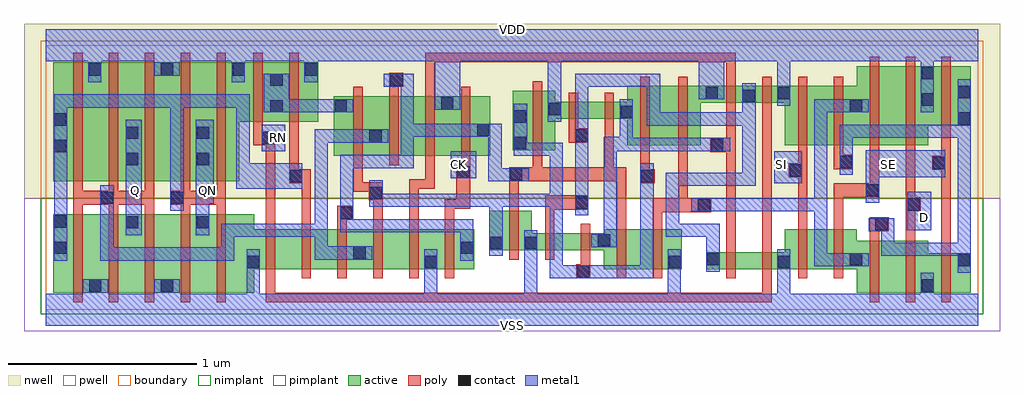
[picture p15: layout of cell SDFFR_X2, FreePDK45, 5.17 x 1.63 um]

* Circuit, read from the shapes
.subckt SDFFR_X2 CK D Q QN RN SE SI VDD VSS
M1 VSS n1 n2 VSUBS nfet w=0.415u l=0.05u
M2 Q n1 VSS VSUBS nfet w=0.415u l=0.05u m=2
M3 QN n2 VSS VSUBS nfet w=0.415u l=0.05u m=2
M4 n3 RN VSS VSUBS nfet w=0.21u l=0.05u
M5 n4 n2 n3 VSUBS nfet w=0.21u l=0.05u
M6 n1 n5 n4 VSUBS nfet w=0.21u l=0.05u
M7 n6 n7 n1 VSUBS nfet w=0.21u l=0.05u
M8 VSS n8 n6 VSUBS nfet w=0.21u l=0.05u
M9 n5 CK VSS VSUBS nfet w=0.21u l=0.05u
M10 VSS n5 n7 VSUBS nfet w=0.21u l=0.05u
M11 n9 n10 VSS VSUBS nfet w=0.09u l=0.05u
M12 n8 n7 n9 VSUBS nfet w=0.09u l=0.05u
M13 n11 n5 n8 VSUBS nfet w=0.21u l=0.05u
M14 VSS n12 n11 VSUBS nfet w=0.21u l=0.05u
M15 n13 n8 n10 VSUBS nfet w=0.09u l=0.05u
M16 VSS RN n13 VSUBS nfet w=0.09u l=0.05u
M17 n14 SI VSS VSUBS nfet w=0.21u l=0.05u
M18 n12 SE n14 VSUBS nfet w=0.21u l=0.05u
M19 n15 n16 n12 VSUBS nfet w=0.275u l=0.05u
M20 VSS D n15 VSUBS nfet w=0.275u l=0.05u
M21 n16 SE VSS VSUBS nfet w=0.21u l=0.05u
M22 VDD n1 n2 n17 pfet w=0.63u l=0.05u
M23 Q n1 VDD n17 pfet w=0.63u l=0.05u m=2
M24 QN n2 VDD n17 pfet w=0.63u l=0.05u m=2
M25 n18 RN VDD n17 pfet w=0.315u l=0.05u
M26 VDD n2 n18 n17 pfet w=0.315u l=0.05u
M27 n1 n7 n18 n17 pfet w=0.315u l=0.05u
M28 n19 n5 n1 n17 pfet w=0.315u l=0.05u
M29 VDD n8 n19 n17 pfet w=0.315u l=0.05u
M30 n5 CK VDD n17 pfet w=0.315u l=0.05u
M31 VDD n5 n7 n17 pfet w=0.315u l=0.05u
M32 n20 n10 VDD n17 pfet w=0.09u l=0.05u
M33 n8 n5 n20 n17 pfet w=0.09u l=0.05u
M34 n21 n7 n8 n17 pfet w=0.315u l=0.05u
M35 VDD n12 n21 n17 pfet w=0.315u l=0.05u
M36 n10 n8 VDD n17 pfet w=0.09u l=0.05u
M37 VDD RN n10 n17 pfet w=0.09u l=0.05u
M38 n22 SI VDD n17 pfet w=0.315u l=0.05u
M39 n12 n16 n22 n17 pfet w=0.315u l=0.05u
M40 n23 SE n12 n17 pfet w=0.42u l=0.05u
M41 VDD D n23 n17 pfet w=0.42u l=0.05u
M42 n16 SE VDD n17 pfet w=0.315u l=0.05u
.ends

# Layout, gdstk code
import gdstk
lib = gdstk.Library(unit=1e-6, precision=5e-10)
def R(c, l, rs):  # rectangles x0, y0, x1, y1
    for r in rs: c.add(gdstk.rectangle(r[:2], r[2:], *l))
def A(c, l, x, y, w, h, nx, ny, dx, dy):  # array of equal rectangles
    R(c, l, [(x+i*dx, y+j*dy, x+i*dx+w, y+j*dy+h) for i in range(nx) for j in range(ny)])
def P(c, l, *ps):  # polygons
    for p in ps: c.add(gdstk.Polygon(p, *l))
active = (1, 0)
pwell = (2, 0)
nwell = (3, 0)
nimplant = (4, 0)
pimplant = (5, 0)
poly = (9, 0)
contact = (10, 0)
metal1 = (11, 0)
boundary = (235, 0)

sdffr_x2 = lib.new_cell('SDFFR_X2')
R(sdffr_x2, active, [(1.525,0.815,2.355,1.13)])
P(sdffr_x2, active, [(2.475,0.845),(2.7,0.845),(2.7,1.01),(3.08,1.01),(3.08,0.87),(3.47,0.87),(3.47,1.095),(3.915,1.095),(3.915,0.87),(4.675,0.87),(4.675,0.975),(4.9,0.975),(4.9,1.29),(4.295,1.29),(4.295,1.185),(3.08,1.185),(3.08,1.1),(2.7,1.1),(2.7,1.16),(2.475,1.16)],
  [(3.5,0.215),(4.295,0.215),(4.295,0.09),(4.9,0.09),(4.9,0.3),(4.675,0.3),(4.675,0.365),(4.295,0.365),(4.295,0.425),(3.915,0.425),(3.915,0.305),(3.5,0.305)],
  [(2.35,0.315),(2.955,0.315),(2.955,0.215),(3.37,0.215),(3.37,0.425),(2.955,0.425),(2.955,0.405),(2.575,0.405),(2.575,0.525),(2.35,0.525)],
  [(0.04,0.09),(1.105,0.09),(1.105,0.215),(2.27,0.215),(2.27,0.425),(1.105,0.425),(1.105,0.505),(0.04,0.505)],
  [(0.04,0.68),(1.025,0.68),(1.025,0.995),(1.445,0.995),(1.445,1.31),(0.04,1.31)])
R(sdffr_x2, pwell, [(-0.115,-0.115,5.055,0.59)])
R(sdffr_x2, nwell, [(-0.115,0.59,5.055,1.515)])
R(sdffr_x2, nimplant, [(-0.025,-0.025,4.965,0.59)])
R(sdffr_x2, pimplant, [(-0.025,0.59,4.965,1.425)])
P(sdffr_x2, poly, [(4.695,0.74),(4.745,0.74),(4.745,0.04),(4.795,0.04),(4.795,1.34),(4.745,1.34),(4.745,0.815),(4.695,0.815)],
  [(4.555,0.04),(4.605,0.04),(4.605,0.52),(4.635,0.52),(4.635,0.595),(4.605,0.595),(4.605,1.34),(4.555,1.34)],
  [(4.365,0.04),(4.415,0.04),(4.415,0.415),(4.465,0.415),(4.465,0.49),(4.365,0.49)],
  [(4.175,0.165),(4.225,0.165),(4.225,0.595),(4.415,0.595),(4.415,1.34),(4.365,1.34),(4.365,0.67),(4.175,0.67)],
  [(4.175,0.745),(4.275,0.745),(4.275,0.82),(4.225,0.82),(4.225,1.235),(4.175,1.235)],
  [(3.935,0.7),(3.985,0.7),(3.985,0.165),(4.035,0.165),(4.035,1.235),(3.985,1.235),(3.985,0.775),(3.935,0.775)],
  [(1.1,0.87),(1.165,0.87),(1.165,0.04),(3.845,0.04),(3.845,1.235),(3.795,1.235),(3.795,0.09),(1.215,0.09),(1.215,0.945),(1.15,0.945),(1.15,1.36),(1.1,1.36)],
  [(1.925,0.165),(1.975,0.165),(1.975,0.64),(2.06,0.64),(2.06,1.31),(3.605,1.31),(3.605,0.91),(3.52,0.91),(3.52,0.835),(3.605,0.835),(3.605,0.165),(3.655,0.165),(3.655,1.36),(2.01,1.36),(2.01,0.69),(1.925,0.69)],
  [(3.215,0.165),(3.265,0.165),(3.265,0.515),(3.525,0.515),(3.525,0.59),(3.4,0.59),(3.4,1.235),(3.35,1.235),(3.35,0.59),(3.215,0.59)],
  [(3.15,0.67),(3.225,0.67),(3.225,0.745),(3.2,0.745),(3.2,1.235),(3.15,1.235)],
  [(2.455,0.265),(2.505,0.265),(2.505,0.68),(3.025,0.68),(3.025,0.165),(3.075,0.165),(3.075,0.755),(3.01,0.755),(3.01,1.15),(2.96,1.15),(2.96,0.755),(2.63,0.755),(2.63,1.21),(2.58,1.21),(2.58,0.755),(2.455,0.755)],
  [(2.81,0.165),(2.885,0.165),(2.885,0.455),(2.835,0.455),(2.835,0.24),(2.81,0.24)],
  [(2.77,0.885),(2.875,0.885),(2.875,0.96),(2.82,0.96),(2.82,1.15),(2.77,1.15)],
  [(2.645,0.265),(2.695,0.265),(2.695,0.53),(2.875,0.53),(2.875,0.605),(2.645,0.605)],
  [(2.115,0.165),(2.165,0.165),(2.165,0.535),(2.25,0.535),(2.25,1.18),(2.2,1.18),(2.2,0.765),(2.175,0.765),(2.175,0.585),(2.115,0.585)],
  [(1.82,0.765),(1.87,0.765),(1.87,1.18),(1.895,1.18),(1.895,1.255),(1.82,1.255)],
  [(1.63,0.625),(1.71,0.625),(1.71,0.58),(1.735,0.58),(1.735,0.165),(1.785,0.165),(1.785,0.675),(1.68,0.675),(1.68,1.18),(1.63,1.18)],
  [(1.545,0.165),(1.595,0.165),(1.595,0.475),(1.63,0.475),(1.63,0.55),(1.545,0.55)],
  [(1.29,0.67),(1.355,0.67),(1.355,0.165),(1.405,0.165),(1.405,0.745),(1.34,0.745),(1.34,1.36),(1.29,1.36)],
  [(0.66,0.555),(0.715,0.555),(0.715,0.04),(0.765,0.04),(0.765,0.555),(0.905,0.555),(0.905,0.04),(0.955,0.04),(0.955,1.36),(0.905,1.36),(0.905,0.63),(0.765,0.63),(0.765,1.36),(0.715,1.36),(0.715,0.63),(0.66,0.63)],
  [(0.145,0.04),(0.195,0.04),(0.195,0.555),(0.335,0.555),(0.335,0.04),(0.385,0.04),(0.385,0.555),(0.525,0.555),(0.525,0.04),(0.575,0.04),(0.575,1.36),(0.525,1.36),(0.525,0.63),(0.385,0.63),(0.385,1.36),(0.335,1.36),(0.335,0.63),(0.195,0.63),(0.195,1.36),(0.145,1.36)])
A(sdffr_x2, contact, 0.23, 1.24, 0.065, 0.065, 3, 1, 0.38, 0)
R(sdffr_x2, contact, [(0.23,0.095,0.295,0.16), (0.61,0.095,0.675,0.16), (4.64,0.095,4.705,0.16), (2.815,0.17,2.88,0.235), (1.065,0.22,1.13,0.285), (2.01,0.22,2.075,0.285), (3.3,0.22,3.365,0.285), (3.88,0.22,3.945,0.285), (4.83,0.23,4.895,0.295), (3.505,0.235,3.57,0.3), (4.26,0.235,4.325,0.3), (1.63,0.27,1.695,0.335), (0.045,0.295,0.11,0.36), (2.2,0.295,2.265,0.36), (2.355,0.32,2.42,0.385), (2.54,0.32,2.605,0.385), (2.925,0.335,2.99,0.4), (4.395,0.42,4.46,0.485), (0.425,0.43,0.49,0.495), (0.8,0.43,0.865,0.495), (0.045,0.435,0.11,0.5), (1.56,0.48,1.625,0.545), (3.455,0.52,3.52,0.585), (4.565,0.525,4.63,0.59), (2.805,0.535,2.87,0.6), (0.29,0.56,0.355,0.625), (0.665,0.56,0.73,0.625), (1.715,0.585,1.78,0.65), (4.345,0.6,4.41,0.665), (1.295,0.675,1.36,0.74), (3.155,0.675,3.22,0.74), (2.46,0.685,2.525,0.75), (2.18,0.695,2.245,0.76), (3.94,0.705,4.005,0.77), (4.7,0.745,4.765,0.81), (4.205,0.75,4.27,0.815), (0.425,0.765,0.49,0.83), (0.8,0.765,0.865,0.83), (0.045,0.835,0.11,0.9), (3.525,0.84,3.59,0.905), (2.48,0.85,2.545,0.915), (1.145,0.875,1.21,0.94), (1.715,0.885,1.78,0.95), (2.805,0.89,2.87,0.955), (0.425,0.905,0.49,0.97), (0.8,0.905,0.865,0.97), (2.285,0.92,2.35,0.985), (0.045,0.975,0.11,1.04), (4.83,0.98,4.895,1.045), (2.48,0.99,2.545,1.055), (3.045,1.015,3.11,1.08), (2.665,1.03,2.73,1.095), (1.19,1.045,1.255,1.11), (1.53,1.045,1.595,1.11), (4.26,1.045,4.325,1.11), (2.095,1.06,2.16,1.125), (4.64,1.08,4.705,1.145), (3.69,1.1,3.755,1.165), (3.495,1.115,3.56,1.18), (3.88,1.115,3.945,1.18), (4.83,1.12,4.895,1.185), (1.19,1.185,1.255,1.25), (1.825,1.185,1.89,1.25), (4.64,1.22,4.705,1.285), (1.375,1.24,1.44,1.305)])
R(sdffr_x2, metal1, [(0.425,0.395,0.51,1.005), (0.425,0.395,0.51,1.005), (4.565,0.42,4.69,0.625), (4.565,0.42,4.69,0.625), (3.86,0.67,4.005,0.84), (3.86,0.67,4.005,0.84), (2.145,0.695,2.28,0.84), (2.145,0.695,2.28,0.84), (1.145,0.84,1.27,0.98), (1.145,0.84,1.27,0.98)])
P(sdffr_x2, metal1, [(0,-0.085),(4.94,-0.085),(4.94,0.085),(4.705,0.085),(4.705,0.195),(4.635,0.195),(4.635,0.085),(3.945,0.085),(3.945,0.32),(3.875,0.32),(3.875,0.085),(3.365,0.085),(3.365,0.32),(3.295,0.32),(3.295,0.085),(2.605,0.085),(2.605,0.42),(2.535,0.42),(2.535,0.085),(2.075,0.085),(2.075,0.32),(2.005,0.32),(2.005,0.085),(1.135,0.085),(1.135,0.32),(1.065,0.32),(1.065,0.085),(0.71,0.085),(0.71,0.16),(0.575,0.16),(0.575,0.085),(0.33,0.085),(0.33,0.16),(0.195,0.16),(0.195,0.085),(0,0.085)],
  [(0,1.315),(0.225,1.315),(0.225,1.205),(0.295,1.205),(0.295,1.315),(0.575,1.315),(0.575,1.24),(0.71,1.24),(0.71,1.315),(0.985,1.315),(0.985,1.205),(1.055,1.205),(1.055,1.315),(1.37,1.315),(1.37,1.205),(1.44,1.205),(1.44,1.315),(2.06,1.315),(2.06,1.06),(2.195,1.06),(2.195,1.315),(2.66,1.315),(2.66,0.995),(2.73,0.995),(2.73,1.315),(3.46,1.315),(3.46,1.115),(3.595,1.115),(3.595,1.315),(3.875,1.315),(3.875,1.08),(3.945,1.08),(3.945,1.315),(4.635,1.315),(4.635,1.045),(4.705,1.045),(4.705,1.315),(4.94,1.315),(4.94,1.485),(0,1.485)],
  [(0.795,0.395),(0.865,0.395),(0.865,0.56),(0.89,0.56),(0.89,1.005),(0.795,1.005)],
  [(4.345,0.565),(4.415,0.565),(4.415,0.7),(4.765,0.7),(4.765,0.845),(4.345,0.845)],
  [(0,1.315),(0.225,1.315),(0.225,1.205),(0.295,1.205),(0.295,1.315),(0.575,1.315),(0.575,1.24),(0.71,1.24),(0.71,1.315),(0.985,1.315),(0.985,1.205),(1.055,1.205),(1.055,1.315),(1.37,1.315),(1.37,1.205),(1.44,1.205),(1.44,1.315),(2.06,1.315),(2.06,1.06),(2.195,1.06),(2.195,1.315),(2.66,1.315),(2.66,0.995),(2.73,0.995),(2.73,1.315),(3.46,1.315),(3.46,1.115),(3.595,1.115),(3.595,1.315),(3.875,1.315),(3.875,1.08),(3.945,1.08),(3.945,1.315),(4.635,1.315),(4.635,1.045),(4.705,1.045),(4.705,1.315),(4.94,1.315),(4.94,1.485),(0,1.485)],
  [(0,-0.085),(4.94,-0.085),(4.94,0.085),(4.705,0.085),(4.705,0.195),(4.635,0.195),(4.635,0.085),(3.945,0.085),(3.945,0.32),(3.875,0.32),(3.875,0.085),(3.365,0.085),(3.365,0.32),(3.295,0.32),(3.295,0.085),(2.605,0.085),(2.605,0.42),(2.535,0.42),(2.535,0.085),(2.075,0.085),(2.075,0.32),(2.005,0.32),(2.005,0.085),(1.135,0.085),(1.135,0.32),(1.065,0.32),(1.065,0.085),(0.71,0.085),(0.71,0.16),(0.575,0.16),(0.575,0.085),(0.33,0.085),(0.33,0.16),(0.195,0.16),(0.195,0.085),(0,0.085)],
  [(4.205,0.715),(4.275,0.715),(4.275,0.91),(4.83,0.91),(4.83,0.355),(4.495,0.355),(4.495,0.485),(4.36,0.485),(4.36,0.415),(4.425,0.415),(4.425,0.285),(4.83,0.285),(4.83,0.195),(4.9,0.195),(4.9,1.22),(4.83,1.22),(4.83,0.98),(4.205,0.98)],
  [(4.345,0.565),(4.415,0.565),(4.415,0.7),(4.765,0.7),(4.765,0.845),(4.345,0.845)],
  [(4.14,1.045),(4.36,1.045),(4.36,1.115),(4.07,1.115),(4.07,0.59),(3.42,0.59),(3.42,0.52),(4.07,0.52),(4.07,0.23),(4.36,0.23),(4.36,0.3),(4.14,0.3)],
  [(2.805,0.5),(2.875,0.5),(2.875,1.18),(3.185,1.18),(3.185,0.975),(3.69,0.975),(3.69,0.725),(3.285,0.725),(3.285,0.385),(3.5,0.385),(3.5,0.2),(3.57,0.2),(3.57,0.455),(3.355,0.455),(3.355,0.655),(3.76,0.655),(3.76,1.2),(3.69,1.2),(3.69,1.045),(3.255,1.045),(3.255,1.25),(2.805,1.25)],
  [(2.89,0.33),(3.025,0.33),(3.025,0.84),(3.625,0.84),(3.625,0.91),(3.11,0.91),(3.11,1.115),(3.04,1.115),(3.04,0.915),(2.955,0.915),(2.955,0.4),(2.89,0.4)],
  [(2.48,0.815),(2.67,0.815),(2.67,0.615),(1.785,0.615),(1.785,0.685),(1.715,0.685),(1.715,0.545),(2.35,0.545),(2.35,0.285),(2.42,0.285),(2.42,0.545),(2.67,0.545),(2.67,0.165),(3.22,0.165),(3.22,0.775),(3.15,0.775),(3.15,0.235),(2.74,0.235),(2.74,0.885),(2.55,0.885),(2.55,1.09),(2.48,1.09)],
  [(1.63,0.75),(1.95,0.75),(1.95,0.915),(2.345,0.915),(2.345,0.68),(2.56,0.68),(2.56,0.75),(2.415,0.75),(2.415,0.985),(1.95,0.985),(1.95,1.25),(1.79,1.25),(1.79,1.18),(1.88,1.18),(1.88,0.82),(1.56,0.82),(1.56,0.41),(2.195,0.41),(2.195,0.26),(2.265,0.26),(2.265,0.48),(1.63,0.48)],
  [(1.495,0.885),(1.815,0.885),(1.815,0.955),(1.425,0.955),(1.425,0.455),(0.93,0.455),(0.93,0.33),(0.36,0.33),(0.36,0.66),(0.29,0.66),(0.29,0.26),(1,0.26),(1,0.385),(1.425,0.385),(1.425,0.265),(1.73,0.265),(1.73,0.335),(1.495,0.335)],
  [(1.155,1.045),(1.63,1.045),(1.63,1.115),(1.29,1.115),(1.29,1.25),(1.155,1.25)],
  [(0.045,0.26),(0.115,0.26),(0.115,1.07),(0.66,1.07),(0.66,0.525),(0.73,0.525),(0.73,1.07),(1.01,1.07),(1.01,0.64),(1.36,0.64),(1.36,0.775),(1.08,0.775),(1.08,1.14),(0.045,1.14)],
  [(0.795,0.395),(0.865,0.395),(0.865,0.56),(0.89,0.56),(0.89,1.005),(0.795,1.005)])
R(sdffr_x2, boundary, [(0,0,4.94,1.4)])
sdffr_x2.add(gdstk.Label('VSS', (2.47,-0.085), layer=11, texttype=0))
sdffr_x2.add(gdstk.Label('VDD', (2.47,1.485), layer=11, texttype=0))
sdffr_x2.add(gdstk.Label('SI', (3.895,0.77), layer=11, texttype=0))
sdffr_x2.add(gdstk.Label('SE', (4.465,0.77), layer=11, texttype=0))
sdffr_x2.add(gdstk.Label('RN', (1.235,0.91), layer=11, texttype=0))
sdffr_x2.add(gdstk.Label('QN', (0.855,0.63), layer=11, texttype=0))
sdffr_x2.add(gdstk.Label('Q', (0.475,0.63), layer=11, texttype=0))
sdffr_x2.add(gdstk.Label('D', (4.655,0.49), layer=11, texttype=0))
sdffr_x2.add(gdstk.Label('CK', (2.185,0.77), layer=11, texttype=0))

lib.write_gds('SDFFR_X2.gds')
